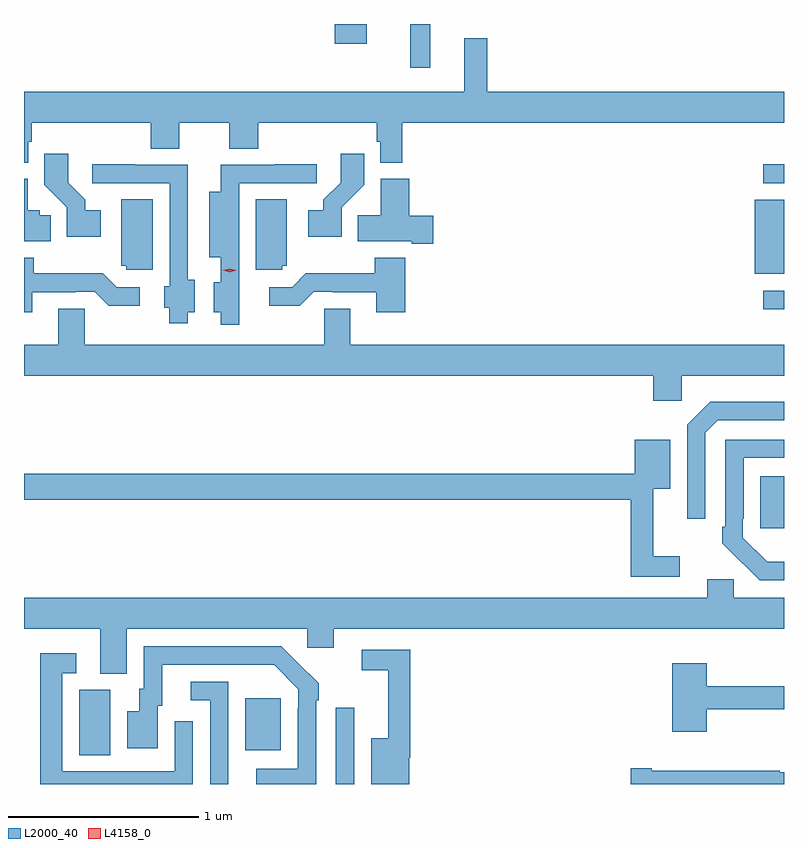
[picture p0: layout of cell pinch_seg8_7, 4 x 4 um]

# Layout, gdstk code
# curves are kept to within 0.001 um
import gdstk
lib = gdstk.Library(unit=1e-6, precision=1e-09)
def R(c, l, rs):  # rectangles x0, y0, x1, y1
    for r in rs: c.add(gdstk.rectangle(r[:2], r[2:], *l))
def P(c, l, *ps):  # polygons
    for p in ps: c.add(gdstk.Polygon(p, *l))
L2000_40 = (2000, 40)
L4158_0 = (4158, 0)

pinch_seg8_7 = lib.new_cell('pinch_seg8_7')
R(pinch_seg8_7, L2000_40, [(1054.893,1122.344,1054.989,1122.745), (1053.542,1122.496,1053.706,1122.84), (1054.415,1122.521,1054.603,1122.796), (1057.127,1123.689,1057.251,1123.963), (1057.143,1124.844,1057.251,1124.94), (1057.097,1125.029,1057.251,1125.418), (1057.143,1125.507,1057.251,1125.606), (1055.285,1126.113,1055.389,1126.344), (1054.886,1126.239,1055.056,1126.344)])
P(pinch_seg8_7, L2000_40, [(1053.273,1125.723),(1053.293,1125.723),(1053.293,1125.824),(1053.917,1125.824),(1053.917,1125.688),(1054.069,1125.688),(1054.069,1125.824),(1054.331,1125.824),(1054.331,1125.688),(1054.484,1125.688),(1054.484,1125.824),(1055.107,1125.824),(1055.107,1125.723),(1055.127,1125.723),(1055.127,1125.614),(1055.243,1125.614),(1055.243,1125.824),(1057.251,1125.824),(1057.251,1125.988),(1055.689,1125.988),(1055.689,1126.27),(1055.567,1126.27),(1055.567,1125.988),(1053.251,1125.988),(1053.251,1125.614),(1053.273,1125.614)],
  [(1053.655,1125.364),(1053.574,1125.364),(1053.574,1125.419),(1053.484,1125.509),(1053.484,1125.661),(1053.358,1125.661),(1053.358,1125.498),(1053.477,1125.379),(1053.477,1125.224),(1053.655,1125.224)],
  [(1054.923,1125.379),(1055.042,1125.498),(1055.042,1125.661),(1054.917,1125.661),(1054.917,1125.509),(1054.826,1125.419),(1054.826,1125.364),(1054.746,1125.364),(1054.746,1125.224),(1054.923,1125.224)],
  [(1054.384,1124.982),(1054.383,1124.982),(1054.383,1125.507),(1054.792,1125.507),(1054.792,1125.606),(1054.567,1125.606),(1054.567,1125.603),(1054.286,1125.603),(1054.286,1125.46),(1054.226,1125.46),(1054.226,1125.116),(1054.286,1125.116),(1054.286,1124.986),(1054.25,1124.986),(1054.25,1124.828),(1054.286,1124.828),(1054.286,1124.76),(1054.384,1124.76)],
  [(1054.114,1124.828),(1054.15,1124.828),(1054.15,1124.999),(1054.113,1124.999),(1054.113,1125.603),(1053.833,1125.603),(1053.833,1125.606),(1053.609,1125.606),(1053.609,1125.507),(1054.017,1125.507),(1054.017,1124.964),(1053.989,1124.964),(1053.989,1124.85),(1054.016,1124.85),(1054.016,1124.768),(1054.114,1124.768)],
  [(1055.404,1125.335),(1055.279,1125.335),(1055.279,1125.529),(1055.129,1125.529),(1055.129,1125.338),(1055.008,1125.338),(1055.008,1125.2),(1055.291,1125.2),(1055.291,1125.188),(1055.404,1125.188)],
  [(1053.392,1125.338),(1053.333,1125.338),(1053.333,1125.363),(1053.271,1125.363),(1053.271,1125.529),(1053.251,1125.529),(1053.251,1125.2),(1053.392,1125.2)],
  [(1054.611,1125.072),(1054.633,1125.072),(1054.633,1125.421),(1054.472,1125.421),(1054.472,1125.051),(1054.611,1125.051)],
  [(1053.928,1125.421),(1053.764,1125.421),(1053.764,1125.072),(1053.789,1125.072),(1053.789,1125.051),(1053.928,1125.051)],
  [(1053.295,1124.931),(1053.524,1124.931),(1053.524,1124.934),(1053.624,1124.934),(1053.697,1124.861),(1053.859,1124.861),(1053.859,1124.958),(1053.738,1124.958),(1053.665,1125.031),(1053.303,1125.031),(1053.303,1125.115),(1053.251,1125.115),(1053.251,1124.826),(1053.295,1124.826)],
  [(1055.257,1125.115),(1055.098,1125.115),(1055.098,1125.031),(1054.735,1125.031),(1054.662,1124.958),(1054.542,1124.958),(1054.542,1124.861),(1054.703,1124.861),(1054.776,1124.934),(1054.876,1124.934),(1054.876,1124.931),(1055.105,1124.931),(1055.105,1124.826),(1055.257,1124.826)],
  [(1056.714,1124.492),(1057.251,1124.492),(1057.251,1124.656),(1054.969,1124.656),(1054.969,1124.846),(1054.83,1124.846),(1054.83,1124.656),(1053.57,1124.656),(1053.57,1124.846),(1053.431,1124.846),(1053.431,1124.656),(1053.251,1124.656),(1053.251,1124.492),(1056.563,1124.492),(1056.563,1124.361),(1056.714,1124.361)],
  [(1056.837,1124.193),(1056.903,1124.259),(1057.251,1124.259),(1057.251,1124.356),(1056.862,1124.356),(1056.741,1124.235),(1056.741,1123.74),(1056.837,1123.74)],
  [(1057.251,1123.513),(1057.164,1123.513),(1057.035,1123.641),(1057.035,1123.741),(1057.038,1123.741),(1057.038,1124.061),(1057.251,1124.061),(1057.251,1124.157),(1056.942,1124.157),(1056.942,1123.699),(1056.927,1123.699),(1056.927,1123.611),(1057.124,1123.416),(1057.251,1123.416)],
  [(1056.703,1123.543),(1056.563,1123.543),(1056.563,1123.898),(1056.652,1123.898),(1056.652,1124.155),(1056.465,1124.155),(1056.465,1123.976),(1053.251,1123.976),(1053.251,1123.84),(1056.445,1123.84),(1056.445,1123.434),(1056.703,1123.434)],
  [(1053.793,1123.16),(1054.743,1123.16),(1054.743,1123.062),(1054.882,1123.062),(1054.882,1123.16),(1057.251,1123.16),(1057.251,1123.324),(1056.987,1123.324),(1056.987,1123.422),(1056.848,1123.422),(1056.848,1123.324),(1053.251,1123.324),(1053.251,1123.16),(1053.653,1123.16),(1053.653,1122.925),(1053.793,1122.925)],
  [(1054.788,1122.785),(1054.803,1122.785),(1054.803,1122.873),(1054.606,1123.068),(1053.882,1123.068),(1053.882,1122.846),(1053.857,1122.846),(1053.857,1122.727),(1053.794,1122.727),(1053.794,1122.531),(1053.955,1122.531),(1053.955,1122.756),(1053.979,1122.756),(1053.979,1122.972),(1054.567,1122.972),(1054.695,1122.843),(1054.695,1122.743),(1054.692,1122.743),(1054.692,1122.423),(1054.473,1122.423),(1054.473,1122.344),(1054.788,1122.344)],
  [(1055.279,1122.482),(1055.285,1122.482),(1055.285,1123.05),(1055.028,1123.05),(1055.028,1122.942),(1055.168,1122.942),(1055.168,1122.586),(1055.078,1122.586),(1055.078,1122.344),(1055.279,1122.344)],
  [(1054.139,1122.418),(1054.14,1122.418),(1054.14,1122.673),(1054.044,1122.673),(1054.044,1122.411),(1053.453,1122.411),(1053.453,1122.927),(1053.526,1122.927),(1053.526,1123.033),(1053.337,1123.033),(1053.337,1122.344),(1054.139,1122.344)],
  [(1056.845,1122.738),(1057.251,1122.738),(1057.251,1122.859),(1056.845,1122.859),(1056.845,1122.979),(1056.662,1122.979),(1056.662,1122.618),(1056.845,1122.618)],
  [(1054.327,1122.425),(1054.326,1122.425),(1054.326,1122.882),(1054.128,1122.882),(1054.128,1122.786),(1054.23,1122.786),(1054.23,1122.344),(1054.327,1122.344)],
  [(1057.251,1122.407),(1057.228,1122.407),(1057.228,1122.415),(1056.556,1122.415),(1056.556,1122.428),(1056.444,1122.428),(1056.444,1122.344),(1057.251,1122.344)])
P(pinch_seg8_7, L4158_0, [(1054.334,1125.037),(1054.298,1125.047),(1054.298,1125.047),(1054.298,1125.047),(1054.334,1125.057),(1054.369,1125.048),(1054.369,1125.048),(1054.369,1125.047)])

lib.write_gds('pinch_seg8_7.gds')
